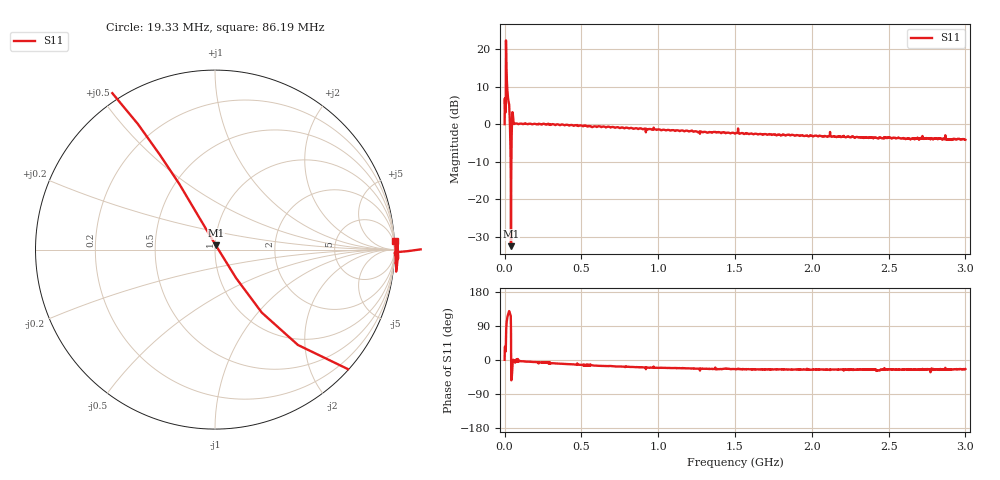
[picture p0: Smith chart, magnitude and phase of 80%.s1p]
# HZ S RI R 50
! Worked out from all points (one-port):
!   2020 points, 10 kHz to 3 GHz, reference 50 ohm
!   lowest |S11| = -32.5 dB at 41.61 MHz (marker M1), VSWR 1.05, Z = 50.4 + j2.35 ohm
!   |S11| at or under -10 dB: 39.28 MHz to 43.98 MHz (4.703 MHz wide, 11.3 % of centre)
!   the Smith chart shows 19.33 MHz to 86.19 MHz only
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10000  0.9975 0.00801
2981758  1.346 0.9635
5953516  1.325 0.5411
1.486879e7  -0.944 3.579
1.635467e7  -1.017 3.027
1.932643e7  -1.084 2.337
2.378406e7  -1.113 1.783
2.526994e7  -1.119 1.662
2.675582e7  -1.129 1.564
2.972758e7  -1.148 1.408
3.269934e7  -0.7471 1.048
3.56711e7  -0.4285 0.6983
4.161461e7  0.0049 0.0232
4.755813e7  0.7407 -0.6658
5.350164e7  1.363 -0.0598
5.64734e7  1.146 0.00121
5.944516e7  1.017 -0.0137
6.39028e7  1.008 -0.0343
6.836043e7  1.009 -0.1225
7.578983e7  1.018 0.0247
3.759374e8  0.9726 -0.1737
7.503789e8  0.8472 -0.2604
1.126306e9  0.7711 -0.3011
1.500748e9  0.6847 -0.3037
1.875189e9  0.6495 -0.3078
2.251117e9  0.6049 -0.2823
2.625558e9  0.5874 -0.269
3e9  0.5653 -0.2513
